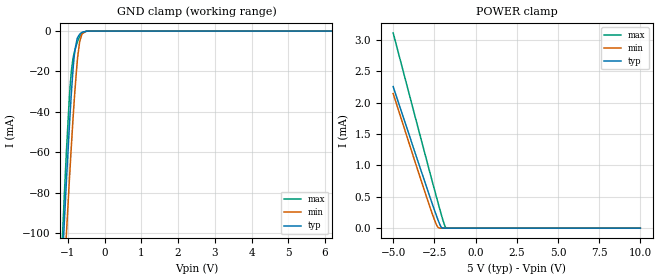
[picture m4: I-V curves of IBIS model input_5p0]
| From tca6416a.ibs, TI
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|   input_5p0 Model
[Model]   input_5p0
Model_type   Input
Vinl = 1.5
Vinh = 3.5
|   typ   min   max
|   (nom PVT)   (fast PVT)   (slow PVT)
C_comp   1.352e-12   1.280e-12   1.451e-12
[Model spec]
|subparameter
Vinl   1.5   1.35   1.65
Vinh   3.5   3.15   3.85
| Where nom  PVT is Nominal Process, 5V, 27C
|   Fast PVT is Strong Process,  5.5V, -40C
|   Slow PVT is Weak Process,   4.5V, 106C
[Voltage Range]   5   4.5   5.5
|Junction Temperature
[Temperature Range]   27   106   -40
[Power Clamp Reference]   5   4.5   5.5
[GND Clamp Reference]   0   0   0
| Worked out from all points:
|   GND clamp passes 1 mA (typ) near -0.64 V on its own axis
[GND Clamp]
|   Voltage   I(typ)   I(min)   I(max)
-5V       -1.785A    -1.71A     -1.885A
-1.26V    -157.1mA   -179mA     -148.5mA
-1.094V   -94.44mA   -119.8mA   -81.08mA
-1.034V   -73.22mA   -99.41mA   -58.7mA
-963mV    -49.09mA   -75.77mA   -34.59mA
-908mV    -32.2mA    -58.42mA   -20.72mA
-824mV    -12.21mA   -34.07mA   -10.72mA
-732mV    -3.195mA   -12.98mA   -5.083mA
-677mV    -1.533mA   -5.297mA   -2.731mA
-612.5mV  -586.4uA   -1.329mA   -1.025mA
-370mV    -3.594uA   -5.368uA   -3.484uA
10V       0A         0A         0A
[POWER Clamp]
|   Voltage   I(typ)   I(min)   I(max)
-5V       2.258mA    2.146mA    3.114mA
-3.002V   678.3uA    519.8uA    1.117mA
-2.43V    240.9uA    90.97uA    553.6uA
-2.332V   168.8uA    34.71uA    457.5uA
-2.255V   115.3uA    8.688uA    383.8uA
-2.09V    19.61uA    82.36nA    227.7uA
-2.02V    2.924uA    14.64nA    163.7uA
-1.876V   13.67nA    0A         44.66uA
-1.788V   0A         0A         4.123uA
10V       0A         0A         0A
